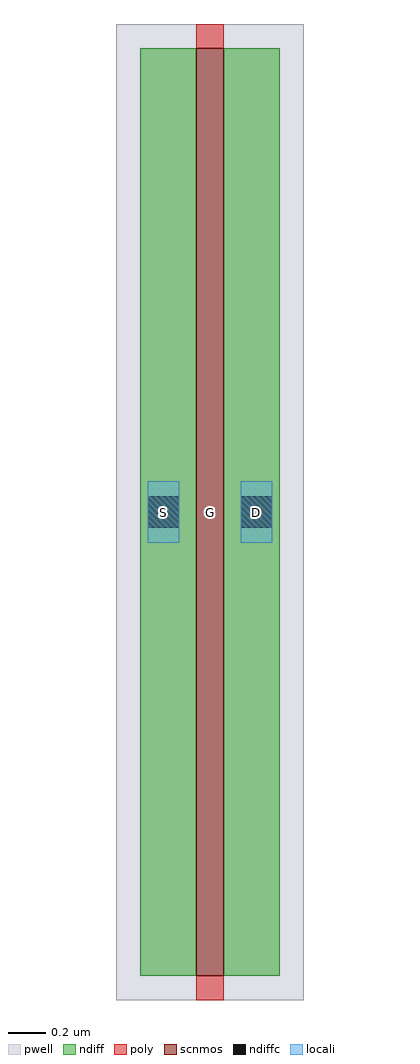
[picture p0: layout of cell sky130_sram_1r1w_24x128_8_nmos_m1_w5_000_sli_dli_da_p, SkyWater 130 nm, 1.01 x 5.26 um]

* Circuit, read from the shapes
.subckt sky130_sram_1r1w_24x128_8_nmos_m1_w5_000_sli_dli_da_p G S D
XM1 D G S VSUBS sky130_fd_pr__nfet_01v8 w=5 l=0.15
.ends

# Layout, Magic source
magic
tech sky130B
magscale 1 2
<< pwell >>
rect -26 -26 176 1026
<< scnmos >>
rect 60 0 90 1000
<< ndiff >>
rect 0 0 60 1000
rect 90 0 150 1000
<< poly >>
rect 60 1000 90 1026
rect 60 -26 90 0
<< locali >>
rect 8 467 42 533
rect 108 467 142 533
use sky130_sram_1r1w_24x128_8_contact_10  sky130_sram_1r1w_24x128_8_contact_10_0
transform 1 0 100 0 1 467
box -26 -22 76 88
use sky130_sram_1r1w_24x128_8_contact_10  sky130_sram_1r1w_24x128_8_contact_10_1
transform 1 0 0 0 1 467
box -26 -22 76 88
<< labels >>
rlabel poly s 75 500 75 500 4 G
port 1 nsew
rlabel locali s 25 500 25 500 4 S
port 2 nsew
rlabel locali s 125 500 125 500 4 D
port 3 nsew
<< properties >>
string FIXED_BBOX -25 -26 175 1026
<< end >>

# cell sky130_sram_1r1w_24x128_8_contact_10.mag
magic
tech sky130B
<< pwell >>
rect -13 -11 38 44
<< ndiff >>
rect 0 25 25 31
rect 0 8 4 25
rect 21 8 25 25
rect 0 2 25 8
<< ndiffc >>
rect 4 8 21 25
<< locali >>
rect 4 25 21 33
rect 4 0 21 8
<< properties >>
string FIXED_BBOX -12 -10 37 43
<< end >>
